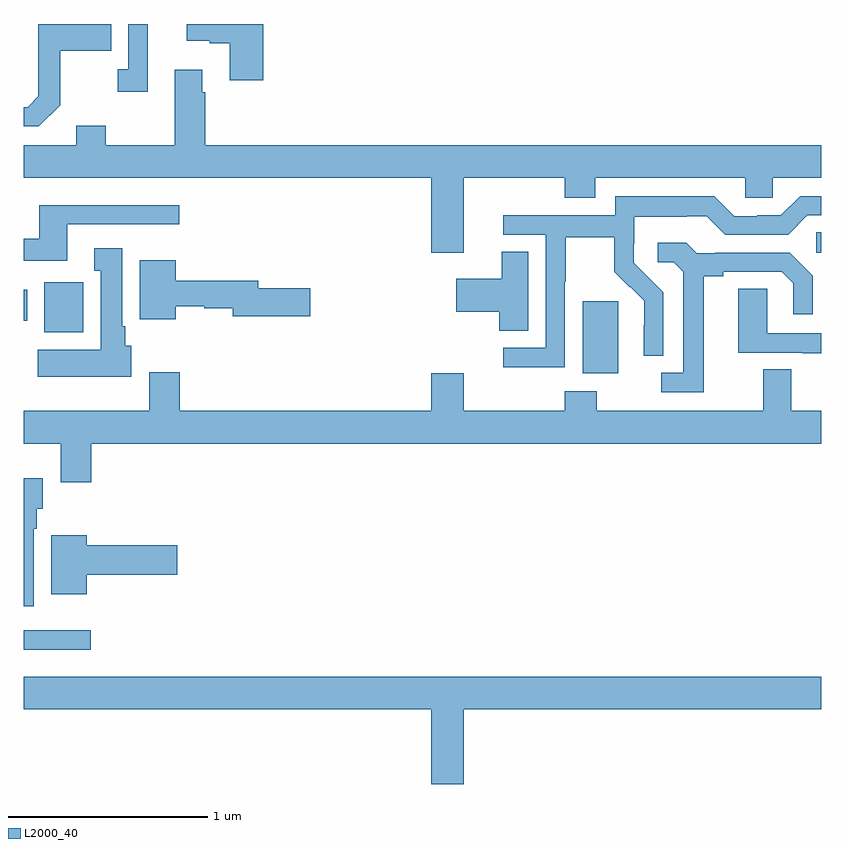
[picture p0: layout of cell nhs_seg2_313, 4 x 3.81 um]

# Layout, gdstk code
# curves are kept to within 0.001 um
import gdstk
lib = gdstk.Library(unit=1e-6, precision=1e-09)
def R(c, l, rs):  # rectangles x0, y0, x1, y1
    for r in rs: c.add(gdstk.rectangle(r[:2], r[2:], *l))
def P(c, l, *ps):  # polygons
    for p in ps: c.add(gdstk.Polygon(p, *l))
L2000_40 = (2000, 40)

nhs_seg2_313 = lib.new_cell('nhs_seg2_313')
R(nhs_seg2_313, L2000_40, [(127,586.664,127.336,586.761), (129.803,588.05,129.982,588.411), (127.103,588.254,127.299,588.505), (127,588.313,127.018,588.469), (130.974,588.654,131,588.755)])
P(nhs_seg2_313, L2000_40, [(128.201,589.8),(127.818,589.8),(127.818,589.715),(127.934,589.715),(127.934,589.703),(128.033,589.703),(128.033,589.518),(128.201,589.518)],
  [(127.622,589.8),(127.524,589.8),(127.524,589.574),(127.473,589.574),(127.473,589.461),(127.622,589.461)],
  [(127.183,589.393),(127.183,589.666),(127.439,589.666),(127.439,589.8),(127.074,589.8),(127.074,589.437),(127.02,589.383),(127,589.383),(127,589.287),(127.077,589.287)],
  [(129.208,589.028),(129.713,589.028),(129.713,588.929),(129.865,588.929),(129.865,589.028),(130.617,589.028),(130.617,588.93),(130.755,588.93),(130.755,589.028),(131,589.028),(131,589.192),(127.91,589.192),(127.91,589.457),(127.897,589.457),(127.897,589.57),(127.757,589.57),(127.757,589.192),(127.413,589.192),(127.413,589.291),(127.265,589.291),(127.265,589.192),(127,589.192),(127,589.028),(129.044,589.028),(129.044,588.654),(129.208,588.654)],
  [(129.714,588.508),(129.717,588.508),(129.717,588.732),(129.961,588.732),(129.961,588.557),(130.038,588.48),(130.041,588.483),(130.112,588.413),(130.112,588.29),(130.11,588.29),(130.11,588.136),(130.206,588.136),(130.206,588.454),(130.06,588.602),(130.06,588.699),(130.062,588.699),(130.062,588.833),(130.325,588.833),(130.325,588.837),(130.425,588.837),(130.518,588.744),(130.833,588.744),(130.929,588.84),(131,588.84),(131,588.936),(130.893,588.936),(130.797,588.84),(130.679,588.84),(130.679,588.837),(130.563,588.837),(130.463,588.937),(129.966,588.937),(129.966,588.84),(129.405,588.84),(129.405,588.744),(129.618,588.744),(129.618,588.177),(129.405,588.177),(129.405,588.079),(129.714,588.079)],
  [(127.219,588.795),(127.78,588.795),(127.78,588.892),(127.079,588.892),(127.079,588.724),(127,588.724),(127,588.614),(127.219,588.614)],
  [(130.411,588.536),(130.507,588.536),(130.507,588.558),(130.802,588.558),(130.859,588.501),(130.859,588.345),(130.956,588.345),(130.956,588.538),(130.84,588.654),(130.468,588.654),(130.468,588.651),(130.374,588.651),(130.322,588.703),(130.179,588.703),(130.179,588.606),(130.26,588.606),(130.307,588.559),(130.307,588.051),(130.197,588.051),(130.197,587.955),(130.411,587.955)],
  [(127.54,588.186),(127.51,588.186),(127.51,588.286),(127.495,588.286),(127.495,588.676),(127.355,588.676),(127.355,588.563),(127.388,588.563),(127.388,588.166),(127.071,588.166),(127.071,588.032),(127.54,588.032)],
  [(129.529,588.659),(129.398,588.659),(129.398,588.523),(129.168,588.523),(129.168,588.358),(129.386,588.358),(129.386,588.262),(129.529,588.262)],
  [(127.762,588.384),(127.905,588.384),(127.905,588.376),(128.048,588.376),(128.048,588.334),(128.437,588.334),(128.437,588.476),(128.176,588.476),(128.176,588.512),(127.762,588.512),(127.762,588.616),(127.583,588.616),(127.583,588.32),(127.762,588.32)],
  [(131,588.249),(130.728,588.249),(130.728,588.473),(130.583,588.473),(130.583,588.153),(130.907,588.153),(130.907,588.149),(131,588.149)],
  [(127.34,587.696),(131,587.696),(131,587.86),(130.849,587.86),(130.849,588.068),(130.709,588.068),(130.709,587.86),(129.873,587.86),(129.873,587.959),(129.713,587.959),(129.713,587.86),(129.208,587.86),(129.208,588.049),(129.044,588.049),(129.044,587.86),(127.784,587.86),(127.784,588.055),(127.631,588.055),(127.631,587.86),(127,587.86),(127,587.696),(127.187,587.696),(127.187,587.502),(127.34,587.502)],
  [(127.051,587.27),(127.066,587.27),(127.066,587.37),(127.096,587.37),(127.096,587.524),(127,587.524),(127,586.881),(127.051,586.881)],
  [(127.318,587.039),(127.771,587.039),(127.771,587.186),(127.318,587.186),(127.318,587.236),(127.139,587.236),(127.139,586.94),(127.318,586.94)],
  [(129.208,586.364),(131,586.364),(131,586.528),(127,586.528),(127,586.364),(129.044,586.364),(129.044,585.99),(129.208,585.99)])

lib.write_gds('nhs_seg2_313.gds')
